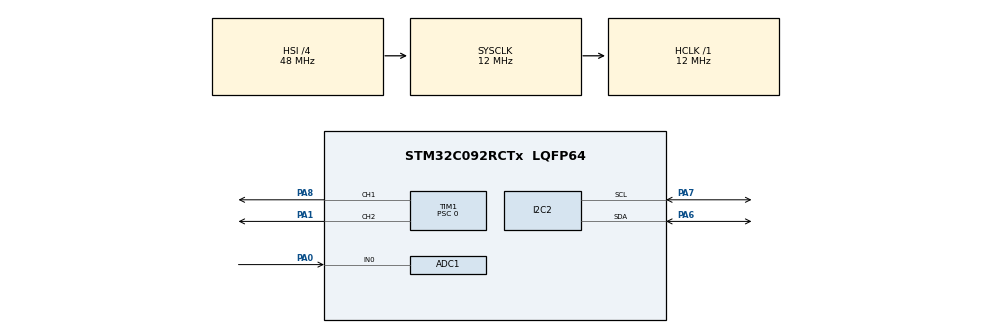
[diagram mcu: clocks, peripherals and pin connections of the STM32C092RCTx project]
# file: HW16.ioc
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ADC1.NbrOfConversionFlag=0
ADC1.SelectedChannel=ADC_CHANNEL_0
ADC1.master=1
I2C2.Timing=0x00402D41
Mcu.Family=STM32C0
Mcu.Name=STM32C092RCTx
Mcu.Package=LQFP64
NUCLEO-C092RC.BUTTON=1
NUCLEO-C092RC.Bsp_Common_DEMO=true
NUCLEO-C092RC.LD1=true
NUCLEO-C092RC.LD2=true
NUCLEO-C092RC.VCP=true
NVIC.EXTI4_15_IRQn=true\:0\:0\:false\:false\:true\:false\:true\:true
NVIC.TIM2_IRQn=true\:2\:0\:false\:false\:true\:true\:true\:true
PA0.Mode=IN0
PA0.Signal=ADC1_IN0
PA1.Signal=S_TIM1_CH2
PA13.GPIO_Label=SWDIO
PA13.Signal=DEBUG_SWDIO
PA14-BOOT0.GPIO_Label=SWCLK
PA14-BOOT0.Signal=DEBUG_SWCLK
PA2.Signal=USART2_TX
PA3.Signal=USART2_RX
PA6.Mode=I2C
PA6.Signal=I2C2_SDA
PA7.Mode=I2C
PA7.Signal=I2C2_SCL
PA8.Signal=S_TIM1_CH1
PC14-OSCX_IN(PC14).GPIO_Label=OSCX_IN
PC14-OSCX_IN(PC14).Signal=RCC_OSCX_IN
PC15-OSCX_OUT(PC15).GPIO_Label=OSCX_OUT
PC15-OSCX_OUT(PC15).Signal=RCC_OSCX_OUT
PF0-OSC_IN(PF0).GPIO_Label=OSC_IN
PF0-OSC_IN(PF0).Signal=RCC_OSC_IN
PF1-OSC_OUT(PF1).GPIO_Label=OSC_OUT
PF1-OSC_OUT(PF1).Signal=RCC_OSC_OUT
ProjectManager.HeapSize=0x200
ProjectManager.StackSize=0x400
ProjectManager.TargetToolchain=CMake
RCC.ADCFreq_Value=12000000
RCC.AHBFreq_Value=12000000
RCC.CortexFreq_Value=12000000
RCC.EXTERNAL_CLOCK_VALUE=12288000
RCC.HCLKFreq_Value=12000000
RCC.HSE_VALUE=8000000
RCC.HSI_VALUE=48000000
RCC.LSE_VALUE=32768
RCC.SYSCLKFreq_VALUE=12000000
SH.S_TIM1_CH1.0=TIM1_CH1,PWM Generation1 CH1
SH.S_TIM1_CH2.0=TIM1_CH2,PWM Generation2 CH2
TIM1.Channel-PWM\ Generation1\ CH1=TIM_CHANNEL_1
TIM1.Channel-PWM\ Generation2\ CH2=TIM_CHANNEL_2
TIM1.Period=2399
TIM1.Prescaler=0
TIM2.Period=999
TIM2.Prescaler=11
VP_NUCLEO-C092RC_VS_BSP_COMMON.Mode=COMMON
VP_TIM2_VS_ClockSourceINT.Mode=Internal
board=NUCLEO-C092RC

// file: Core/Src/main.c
/* USER CODE BEGIN Header */
/**
  ******************************************************************************
  * @file           : main.c
  * @brief          : Main program body
  ******************************************************************************
  * @attention
  *
  * Copyright (c) 2026 STMicroelectronics.
  * All rights reserved.
  *
  * This software is licensed under terms that can be found in the LICENSE file
  * in the root directory of this software component.
  * If no LICENSE file comes with this software, it is provided AS-IS.
  *
  ******************************************************************************
  */
/* USER CODE END Header */
#include "main.h"

/* USER CODE BEGIN PD */
#define INA219_ADDR 0x40
#define INA219_REG_CONFIG 0x00
#define INA219_REG_SHUNT_VOLTAGE 0x01
#define INA219_REG_BUS_VOLTAGE 0x02
#define INA219_REG_POWER 0x03
#define INA219_REG_CURRENT 0x04
#define INA219_REG_CALIBRATION 0x05

#define ADC_SAFE_MIN 250U
#define ADC_SAFE_MAX (4095U - ADC_SAFE_MIN)
#define PWM_PERIOD_COUNTS 2399U
#define PWM_OFF_COUNTS (PWM_PERIOD_COUNTS + 1U)
#define CONTROL_SAMPLES 400U
#define CONTROL_SEGMENT_SAMPLES 100U
#define DESIRED_CURRENT_RAW 450
#define CURRENT_KP 2.0f
#define CURRENT_KI 0.02f
#define CURRENT_INTEGRAL_LIMIT 30000.0f

/* USER CODE END PD */

COM_InitTypeDef BspCOMInit;
__IO uint32_t BspButtonState = BUTTON_RELEASED;
ADC_HandleTypeDef hadc1;

I2C_HandleTypeDef hi2c2;

TIM_HandleTypeDef htim1;
TIM_HandleTypeDef htim2;

/* USER CODE BEGIN PV */
volatile uint8_t state = 0;
static volatile uint8_t ina219_ok = 1;
static volatile uint16_t log_count = 0;
static volatile uint16_t adc_log[CONTROL_SAMPLES];
static volatile int16_t desired_current_log[CONTROL_SAMPLES];
static volatile int16_t actual_current_log[CONTROL_SAMPLES];

/* USER CODE END PV */

void SystemClock_Config(void);
static void MX_GPIO_Init(void);
static void MX_ADC1_Init(void);
static void MX_I2C2_Init(void);
static void MX_TIM1_Init(void);
static void MX_TIM2_Init(void);
/* USER CODE BEGIN PFP */
uint32_t read_adc(void);
void init_ina219(void);
float read_ina219(void);
void writeINA219(int reg, int value);
signed short readINA219(unsigned char reg);
int __io_getchar(void);
static void motor_off(void);
static void set_motor_pwm(float control);
static void print_control_log(void);

/* USER CODE END PFP */

int main(void)
{

  /* MCU Configuration--------------------------------------------------------*/

  /* Reset of all peripherals, Initializes the Flash interface and the Systick. */
  HAL_Init();

  /* Configure the system clock */
  SystemClock_Config();

  /* Initialize all configured peripherals */
  MX_GPIO_Init();
  MX_ADC1_Init();
  MX_I2C2_Init();
  MX_TIM1_Init();
  MX_TIM2_Init();
  /* USER CODE BEGIN 2 */
  if (HAL_ADCEx_Calibration_Start(&hadc1) != HAL_OK)
  {
    Error_Handler();
  }

  /* USER CODE END 2 */

  /* Initialize leds */
  BSP_LED_Init(LED_GREEN);
  BSP_LED_Init(LED_BLUE);

  /* Initialize USER push-button, will be used to trigger an interrupt each time it's pressed.*/
  BSP_PB_Init(BUTTON_USER, BUTTON_MODE_EXTI);

  /* Initialize COM1 port (115200, 8 bits (7-bit data + 1 stop bit), no parity */
  BspCOMInit.BaudRate   = 115200;
  BspCOMInit.WordLength = COM_WORDLENGTH_8B;
  BspCOMInit.StopBits   = COM_STOPBITS_1;
  BspCOMInit.Parity     = COM_PARITY_NONE;
  BspCOMInit.HwFlowCtl  = COM_HWCONTROL_NONE;
  if (BSP_COM_Init(COM1, &BspCOMInit) != BSP_ERROR_NONE)
  {
    Error_Handler();
  }

  /* USER CODE BEGIN BSP */

  printf("\r\nHW16 ready. Send 'a' to run current control.\r\n");

  init_ina219();
  motor_off();
  if (HAL_TIM_PWM_Start(&htim1, TIM_CHANNEL_1) != HAL_OK)
  {
    Error_Handler();
  }
  if (HAL_TIM_PWM_Start(&htim1, TIM_CHANNEL_2) != HAL_OK)
  {
    Error_Handler();
  }
  if (HAL_TIM_Base_Start_IT(&htim2) != HAL_OK)
  {
    Error_Handler();
  }

  /* USER CODE END BSP */

  /* Infinite loop */
  /* USER CODE BEGIN WHILE */
  while (1)
  {
    int ch = __io_getchar();
    if ((ch == 'a') || (ch == 'A'))
    {
      log_count = 0;
      state = 1;
      while (state == 1)
      {
      }
      print_control_log();
      printf("ready\r\n");
    }
    /* USER CODE END WHILE */

  }
}

void SystemClock_Config(void)
{
  RCC_OscInitTypeDef RCC_OscInitStruct = {0};
  RCC_ClkInitTypeDef RCC_ClkInitStruct = {0};

  __HAL_FLASH_SET_LATENCY(FLASH_LATENCY_0);

  /** Initializes the RCC Oscillators according to the specified parameters
  * in the RCC_OscInitTypeDef structure.
  */
  RCC_OscInitStruct.OscillatorType = RCC_OSCILLATORTYPE_HSI;
  RCC_OscInitStruct.HSIState = RCC_HSI_ON;
  RCC_OscInitStruct.HSIDiv = RCC_HSI_DIV4;
  RCC_OscInitStruct.HSICalibrationValue = RCC_HSICALIBRATION_DEFAULT;
  if (HAL_RCC_OscConfig(&RCC_OscInitStruct) != HAL_OK)
  {
    Error_Handler();
  }

  /** Initializes the CPU, AHB and APB buses clocks
  */
  RCC_ClkInitStruct.ClockType = RCC_CLOCKTYPE_HCLK|RCC_CLOCKTYPE_SYSCLK
                              |RCC_CLOCKTYPE_PCLK1;
  RCC_ClkInitStruct.SYSCLKSource = RCC_SYSCLKSOURCE_HSI;
  RCC_ClkInitStruct.SYSCLKDivider = RCC_SYSCLK_DIV1;
  RCC_ClkInitStruct.AHBCLKDivider = RCC_HCLK_DIV1;
  RCC_ClkInitStruct.APB1CLKDivider = RCC_APB1_DIV1;

  if (HAL_RCC_ClockConfig(&RCC_ClkInitStruct, FLASH_LATENCY_0) != HAL_OK)
  {
    Error_Handler();
  }
}

static void MX_ADC1_Init(void)
{

  ADC_ChannelConfTypeDef sConfig = {0};

  /** Configure the global features of the ADC (Clock, Resolution, Data Alignment and number of conversion)
  */
  hadc1.Instance = ADC1;
  hadc1.Init.ClockPrescaler = ADC_CLOCK_SYNC_PCLK_DIV1;
  hadc1.Init.Resolution = ADC_RESOLUTION_12B;
  hadc1.Init.DataAlign = ADC_DATAALIGN_RIGHT;
  hadc1.Init.ScanConvMode = ADC_SCAN_SEQ_FIXED;
  hadc1.Init.EOCSelection = ADC_EOC_SINGLE_CONV;
  hadc1.Init.LowPowerAutoWait = DISABLE;
  hadc1.Init.LowPowerAutoPowerOff = DISABLE;
  hadc1.Init.ContinuousConvMode = DISABLE;
  hadc1.Init.NbrOfConversion = 1;
  hadc1.Init.DiscontinuousConvMode = DISABLE;
  hadc1.Init.ExternalTrigConv = ADC_SOFTWARE_START;
  hadc1.Init.ExternalTrigConvEdge = ADC_EXTERNALTRIGCONVEDGE_NONE;
  hadc1.Init.DMAContinuousRequests = DISABLE;
  hadc1.Init.Overrun = ADC_OVR_DATA_PRESERVED;
  hadc1.Init.SamplingTimeCommon1 = ADC_SAMPLETIME_1CYCLE_5;
  hadc1.Init.OversamplingMode = DISABLE;
  hadc1.Init.TriggerFrequencyMode = ADC_TRIGGER_FREQ_HIGH;
  if (HAL_ADC_Init(&hadc1) != HAL_OK)
  {
    Error_Handler();
  }

  /** Configure Regular Channel
  */
  sConfig.Channel = ADC_CHANNEL_0;
  sConfig.Rank = ADC_RANK_CHANNEL_NUMBER;
  if (HAL_ADC_ConfigChannel(&hadc1, &sConfig) != HAL_OK)
  {
    Error_Handler();
  }

}

static void MX_I2C2_Init(void)
{

  hi2c2.Instance = I2C2;
  hi2c2.Init.Timing = 0x00402D41;
  hi2c2.Init.OwnAddress1 = 0;
  hi2c2.Init.AddressingMode = I2C_ADDRESSINGMODE_7BIT;
  hi2c2.Init.DualAddressMode = I2C_DUALADDRESS_DISABLE;
  hi2c2.Init.OwnAddress2 = 0;
  hi2c2.Init.OwnAddress2Masks = I2C_OA2_NOMASK;
  hi2c2.Init.GeneralCallMode = I2C_GENERALCALL_DISABLE;
  hi2c2.Init.NoStretchMode = I2C_NOSTRETCH_DISABLE;
  if (HAL_I2C_Init(&hi2c2) != HAL_OK)
  {
    Error_Handler();
  }

  /** Configure Analogue filter
  */
  if (HAL_I2CEx_ConfigAnalogFilter(&hi2c2, I2C_ANALOGFILTER_ENABLE) != HAL_OK)
  {
    Error_Handler();
  }

  /** Configure Digital filter
  */
  if (HAL_I2CEx_ConfigDigitalFilter(&hi2c2, 0) != HAL_OK)
  {
    Error_Handler();
  }

}

static void MX_TIM1_Init(void)
{

  TIM_MasterConfigTypeDef sMasterConfig = {0};
  TIM_OC_InitTypeDef sConfigOC = {0};
  TIM_BreakDeadTimeConfigTypeDef sBreakDeadTimeConfig = {0};

  htim1.Instance = TIM1;
  htim1.Init.Prescaler = 0;
  htim1.Init.CounterMode = TIM_COUNTERMODE_UP;
  htim1.Init.Period = PWM_PERIOD_COUNTS;
  htim1.Init.ClockDivision = TIM_CLOCKDIVISION_DIV1;
  htim1.Init.RepetitionCounter = 0;
  htim1.Init.AutoReloadPreload = TIM_AUTORELOAD_PRELOAD_DISABLE;
  if (HAL_TIM_PWM_Init(&htim1) != HAL_OK)
  {
    Error_Handler();
  }
  sMasterConfig.MasterOutputTrigger = TIM_TRGO_RESET;
  sMasterConfig.MasterOutputTrigger2 = TIM_TRGO2_RESET;
  sMasterConfig.MasterSlaveMode = TIM_MASTERSLAVEMODE_DISABLE;
  if (HAL_TIMEx_MasterConfigSynchronization(&htim1, &sMasterConfig) != HAL_OK)
  {
    Error_Handler();
  }
  sConfigOC.OCMode = TIM_OCMODE_PWM1;
  sConfigOC.Pulse = 0;
  sConfigOC.OCPolarity = TIM_OCPOLARITY_HIGH;
  sConfigOC.OCNPolarity = TIM_OCNPOLARITY_HIGH;
  sConfigOC.OCFastMode = TIM_OCFAST_DISABLE;
  sConfigOC.OCIdleState = TIM_OCIDLESTATE_RESET;
  sConfigOC.OCNIdleState = TIM_OCNIDLESTATE_RESET;
  if (HAL_TIM_PWM_ConfigChannel(&htim1, &sConfigOC, TIM_CHANNEL_1) != HAL_OK)
  {
    Error_Handler();
  }
  if (HAL_TIM_PWM_ConfigChannel(&htim1, &sConfigOC, TIM_CHANNEL_2) != HAL_OK)
  {
    Error_Handler();
  }
  sBreakDeadTimeConfig.OffStateRunMode = TIM_OSSR_DISABLE;
  sBreakDeadTimeConfig.OffStateIDLEMode = TIM_OSSI_DISABLE;
  sBreakDeadTimeConfig.LockLevel = TIM_LOCKLEVEL_OFF;
  sBreakDeadTimeConfig.DeadTime = 0;
  sBreakDeadTimeConfig.BreakState = TIM_BREAK_DISABLE;
  sBreakDeadTimeConfig.BreakPolarity = TIM_BREAKPOLARITY_HIGH;
  sBreakDeadTimeConfig.BreakFilter = 0;
  sBreakDeadTimeConfig.BreakAFMode = TIM_BREAK_AFMODE_INPUT;
  sBreakDeadTimeConfig.Break2State = TIM_BREAK2_DISABLE;
  sBreakDeadTimeConfig.Break2Polarity = TIM_BREAK2POLARITY_HIGH;
  sBreakDeadTimeConfig.Break2Filter = 0;
  sBreakDeadTimeConfig.Break2AFMode = TIM_BREAK_AFMODE_INPUT;
  sBreakDeadTimeConfig.AutomaticOutput = TIM_AUTOMATICOUTPUT_DISABLE;
  if (HAL_TIMEx_ConfigBreakDeadTime(&htim1, &sBreakDeadTimeConfig) != HAL_OK)
  {
    Error_Handler();
  }
  HAL_TIM_MspPostInit(&htim1);

}

static void MX_TIM2_Init(void)
{

  TIM_ClockConfigTypeDef sClockSourceConfig = {0};
  TIM_MasterConfigTypeDef sMasterConfig = {0};

  htim2.Instance = TIM2;
  htim2.Init.Prescaler = 11;
  htim2.Init.CounterMode = TIM_COUNTERMODE_UP;
  htim2.Init.Period = 999;
  htim2.Init.ClockDivision = TIM_CLOCKDIVISION_DIV1;
  htim2.Init.AutoReloadPreload = TIM_AUTORELOAD_PRELOAD_DISABLE;
  if (HAL_TIM_Base_Init(&htim2) != HAL_OK)
  {
    Error_Handler();
  }
  sClockSourceConfig.ClockSource = TIM_CLOCKSOURCE_INTERNAL;
  if (HAL_TIM_ConfigClockSource(&htim2, &sClockSourceConfig) != HAL_OK)
  {
    Error_Handler();
  }
  sMasterConfig.MasterOutputTrigger = TIM_TRGO_RESET;
  sMasterConfig.MasterSlaveMode = TIM_MASTERSLAVEMODE_DISABLE;
  if (HAL_TIMEx_MasterConfigSynchronization(&htim2, &sMasterConfig) != HAL_OK)
  {
    Error_Handler();
  }

}

static void MX_GPIO_Init(void)
{

  /* GPIO Ports Clock Enable */
  __HAL_RCC_GPIOC_CLK_ENABLE();
  __HAL_RCC_GPIOF_CLK_ENABLE();
  __HAL_RCC_GPIOA_CLK_ENABLE();

}

/* USER CODE BEGIN 4 */
uint32_t read_adc(void)
{
  uint32_t raw;

  HAL_ADC_Start(&hadc1);
  if (HAL_ADC_PollForConversion(&hadc1, 10) == HAL_OK)
  {
    raw = HAL_ADC_GetValue(&hadc1);
  }
  else
  {
    raw = 0;
  }
  HAL_ADC_Stop(&hadc1);

  return raw;
}

void init_ina219(void)
{
  unsigned short ina219_calValue = 1024;
  unsigned short ina219_config = 0b0011000010001111;

  writeINA219(INA219_REG_CALIBRATION, ina219_calValue);
  writeINA219(INA219_REG_CONFIG, ina219_config);
}

float read_ina219(void)
{
  float ma = 0;
  signed short value = readINA219(INA219_REG_CURRENT);

  ma = value / 3.0f;
  return ma;
}

void writeINA219(int reg, int value)
{
  uint8_t buf[3];

  buf[0] = reg;
  buf[1] = value >> 8;
  buf[2] = value & 0xff;

  if (HAL_I2C_Master_Transmit(&hi2c2, INA219_ADDR << 1, buf, 3, 10) != HAL_OK)
  {
    ina219_ok = 0;
  }
}

signed short readINA219(unsigned char reg)
{
  uint8_t buffer[2] = {0};

  if ((HAL_I2C_Master_Transmit(&hi2c2, INA219_ADDR << 1, &reg, 1, 10) != HAL_OK) ||
      (HAL_I2C_Master_Receive(&hi2c2, INA219_ADDR << 1, buffer, 2, 10) != HAL_OK))
  {
    ina219_ok = 0;
    return 0;
  }

  ina219_ok = 1;
  return (signed short)((buffer[0] << 8) | buffer[1]);
}

int __io_getchar(void)
{
  uint8_t ch;

  HAL_UART_Receive(&hcom_uart[COM1], &ch, 1, HAL_MAX_DELAY);
  return ch;
}

static void motor_off(void)
{
  __HAL_TIM_SET_COMPARE(&htim1, TIM_CHANNEL_1, PWM_OFF_COUNTS);
  __HAL_TIM_SET_COMPARE(&htim1, TIM_CHANNEL_2, PWM_OFF_COUNTS);
}

static void set_motor_pwm(float control)
{
  uint32_t magnitude;
  uint32_t drive_compare;

  if (control > PWM_OFF_COUNTS)
  {
    control = PWM_OFF_COUNTS;
  }
  else if (control < -(float)PWM_OFF_COUNTS)
  {
    control = -(float)PWM_OFF_COUNTS;
  }

  if (control > 0.0f)
  {
    magnitude = (uint32_t)control;
    drive_compare = PWM_OFF_COUNTS - magnitude;
    __HAL_TIM_SET_COMPARE(&htim1, TIM_CHANNEL_1, PWM_OFF_COUNTS);
    __HAL_TIM_SET_COMPARE(&htim1, TIM_CHANNEL_2, drive_compare);
  }
  else if (control < 0.0f)
  {
    magnitude = (uint32_t)(-control);
    drive_compare = PWM_OFF_COUNTS - magnitude;
    __HAL_TIM_SET_COMPARE(&htim1, TIM_CHANNEL_2, PWM_OFF_COUNTS);
    __HAL_TIM_SET_COMPARE(&htim1, TIM_CHANNEL_1, drive_compare);
  }
  else
  {
    motor_off();
  }
}

static void print_control_log(void)
{
  uint16_t count = log_count;

  printf("run_complete samples=%u limits=%u..%u\r\n", count, ADC_SAFE_MIN, ADC_SAFE_MAX);
  printf("index,adc,desired_current_thirds_ma,actual_current_thirds_ma\r\n");
  for (uint16_t i = 0; i < count; i++)
  {
    printf("%u,%u,%d,%d\r\n",
           i,
           adc_log[i],
           desired_current_log[i],
           actual_current_log[i]);
  }
}

void HAL_TIM_PeriodElapsedCallback(TIM_HandleTypeDef *htim)
{
  static volatile uint16_t counter = 0;
  static float current_error_integral = 0.0f;
  uint32_t adc;

  if (htim == &htim2)
  {
    adc = read_adc();

    if ((adc < ADC_SAFE_MIN) || (adc > ADC_SAFE_MAX))
    {
      motor_off();
      state = 0;
      log_count = counter;
      counter = 0;
      current_error_integral = 0.0f;
      return;
    }

    if (state == 1)
    {
      int16_t desired_current;
      int16_t actual_current;
      int32_t current_error;
      float control;

      if (((counter / CONTROL_SEGMENT_SAMPLES) % 2U) == 0U)
      {
        desired_current = DESIRED_CURRENT_RAW;
      }
      else
      {
        desired_current = -DESIRED_CURRENT_RAW;
      }

      actual_current = readINA219(INA219_REG_CURRENT);
      if (ina219_ok == 0)
      {
        motor_off();
        state = 0;
        log_count = counter;
        counter = 0;
        current_error_integral = 0.0f;
        return;
      }

      current_error = desired_current - actual_current;
      current_error_integral += (float)current_error;
      if (current_error_integral > CURRENT_INTEGRAL_LIMIT)
      {
        current_error_integral = CURRENT_INTEGRAL_LIMIT;
      }
      else if (current_error_integral < -CURRENT_INTEGRAL_LIMIT)
      {
        current_error_integral = -CURRENT_INTEGRAL_LIMIT;
      }
      control = (CURRENT_KP * (float)current_error) + (CURRENT_KI * current_error_integral);
      set_motor_pwm(control);

      if (counter < CONTROL_SAMPLES)
      {
        adc_log[counter] = adc;
        desired_current_log[counter] = desired_current;
        actual_current_log[counter] = actual_current;
      }

      counter++;
      log_count = counter;

      if (counter >= CONTROL_SAMPLES)
      {
        motor_off();
        state = 0;
        counter = 0;
        current_error_integral = 0.0f;
      }
    }
  }
}

/* USER CODE END 4 */

/**
  * @brief  BSP Push Button callback
  * @param  Button Specifies the pressed button
  * @retval None
  */
void BSP_PB_Callback(Button_TypeDef Button)
{
  if (Button == BUTTON_USER)
  {
    BspButtonState = BUTTON_PRESSED;
  }
}

void Error_Handler(void)
{
  __disable_irq();
  while (1)
  {
  }
}
